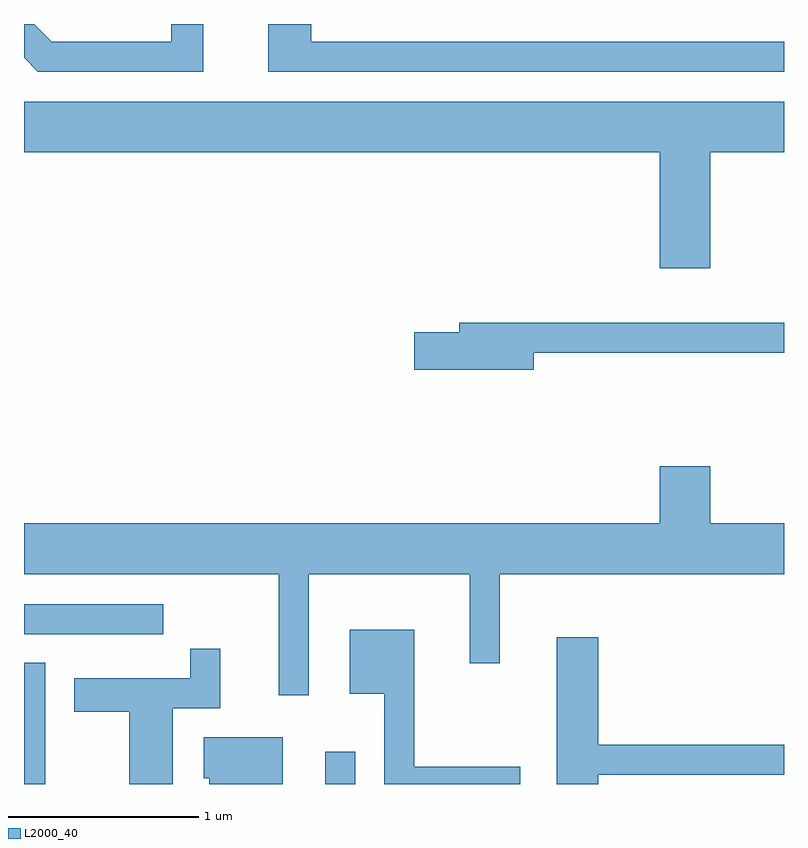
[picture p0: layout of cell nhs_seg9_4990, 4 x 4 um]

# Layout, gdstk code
import gdstk
lib = gdstk.Library(unit=1e-6, precision=1e-09)
def R(c, l, rs):  # rectangles x0, y0, x1, y1
    for r in rs: c.add(gdstk.rectangle(r[:2], r[2:], *l))
def P(c, l, *ps):  # polygons
    for p in ps: c.add(gdstk.Polygon(p, *l))
L2000_40 = (2000, 40)

nhs_seg9_4990 = lib.new_cell('nhs_seg9_4990')
R(nhs_seg9_4990, L2000_40, [(331.611,2048.432,331.724,2049.069), (333.196,2048.432,333.354,2048.603), (331.611,2049.221,332.343,2049.379)])
P(nhs_seg9_4990, L2000_40, [(335.611,2052.339),(333.124,2052.339),(333.124,2052.432),(332.896,2052.432),(332.896,2052.181),(335.611,2052.181)],
  [(332.554,2052.432),(332.386,2052.432),(332.386,2052.339),(331.757,2052.339),(331.664,2052.432),(331.611,2052.432),(331.611,2052.254),(331.684,2052.181),(332.554,2052.181)],
  [(335.224,2051.756),(335.611,2051.756),(335.611,2052.024),(331.611,2052.024),(331.611,2051.756),(334.956,2051.756),(334.956,2051.146),(335.224,2051.146)],
  [(334.294,2050.701),(335.611,2050.701),(335.611,2050.859),(333.901,2050.859),(333.901,2050.809),(333.666,2050.809),(333.666,2050.611),(334.294,2050.611)],
  [(333.109,2049.536),(333.956,2049.536),(333.956,2049.068),(334.114,2049.068),(334.114,2049.536),(335.611,2049.536),(335.611,2049.804),(335.224,2049.804),(335.224,2050.104),(334.956,2050.104),(334.956,2049.804),(331.611,2049.804),(331.611,2049.536),(332.951,2049.536),(332.951,2048.898),(333.109,2048.898)],
  [(334.224,2048.524),(333.664,2048.524),(333.664,2049.244),(333.326,2049.244),(333.326,2048.906),(333.506,2048.906),(333.506,2048.432),(334.224,2048.432)],
  [(334.634,2048.481),(335.611,2048.481),(335.611,2048.639),(334.634,2048.639),(334.634,2049.204),(334.416,2049.204),(334.416,2048.432),(334.634,2048.432)],
  [(332.394,2048.831),(332.644,2048.831),(332.644,2049.143),(332.486,2049.143),(332.486,2048.989),(331.876,2048.989),(331.876,2048.811),(332.166,2048.811),(332.166,2048.432),(332.394,2048.432)],
  [(332.974,2048.679),(332.556,2048.679),(332.556,2048.461),(332.586,2048.461),(332.586,2048.432),(332.974,2048.432)])

lib.write_gds('nhs_seg9_4990.gds')
